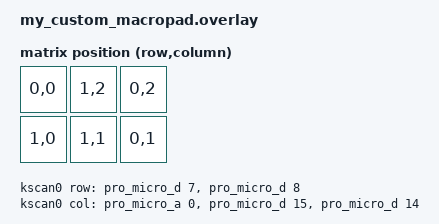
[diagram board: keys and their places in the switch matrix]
#include <dt-bindings/zmk/matrix_transform.h>

/ {
    chosen {
        zmk,kscan = &kscan0;
        zmk,matrix_transform = &default_transform;
    };

    kscan0: kscan_0 {
        compatible = "zmk,kscan-gpio-matrix";
        label = "KSCAN";
        diode-direction = "col2row";

        col-gpios
            = <&pro_micro_a  0 GPIO_ACTIVE_HIGH>
            , <&pro_micro_d 15 GPIO_ACTIVE_HIGH>
            , <&pro_micro_d 14 GPIO_ACTIVE_HIGH>
            ;

        row-gpios
            = <&pro_micro_d 7 (GPIO_ACTIVE_HIGH | GPIO_PULL_DOWN)>
            , <&pro_micro_d 8 (GPIO_ACTIVE_HIGH | GPIO_PULL_DOWN)>
            ;
    };

    default_transform: keymap_transform_0 {
        compatible = "zmk,matrix-transform";
        columns = <3>;
        rows = <2>;
// |           |  MX1(up)  |            |     | MX6(B) | MX3(A) |
// | MX4(left) | MX5(down) | MX2(right) |     |        |        |
        map = <
RC(0,0) RC(1,2) RC(0,2)
RC(1,0) RC(1,1) RC(0,1)
        >;
    }
};
